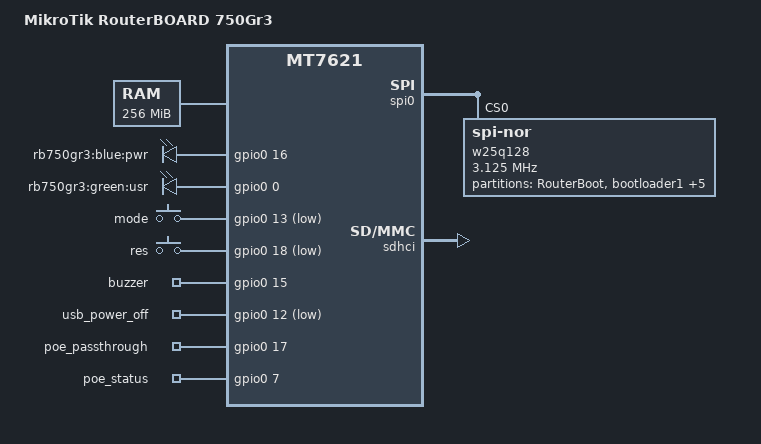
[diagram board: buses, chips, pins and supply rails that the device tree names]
/dts-v1/;

#include "mt7621.dtsi"

#include <dt-bindings/input/input.h>
#include <dt-bindings/gpio/gpio.h>

/ {
	compatible = "mikrotik,rb750gr3", "mediatek,mt7621-soc";
	model = "MikroTik RouterBOARD 750Gr3";

	aliases {
		led-boot = &led_usr;
		led-failsafe = &led_usr;
		led-running = &led_usr;
		led-upgrade = &led_usr;
	};

	memory@0 {
		device_type = "memory";
		reg = <0x0 0x10000000>;
	};

	chosen {
		bootargs = "console=ttyS0,115200";
	};

	gpio-leds {
		compatible = "gpio-leds";

		pwr {
			label = "rb750gr3:blue:pwr";
			gpios = <&gpio0 16 GPIO_ACTIVE_HIGH>;
			default-state = "on";
		};

		led_usr: usr {
			label = "rb750gr3:green:usr";
			gpios = <&gpio0 0 GPIO_ACTIVE_HIGH>;
		};
	};

	gpio-keys-polled {
		compatible = "gpio-keys-polled";
		poll-interval = <20>;

		mode {
			label = "mode";
			gpios = <&gpio0 13 GPIO_ACTIVE_LOW>;
			linux,code = <BTN_0>;
		};

		res {
			label = "res";
			gpios = <&gpio0 18 GPIO_ACTIVE_LOW>;
			linux,code = <KEY_RESTART>;
		};
	};

	gpio_export {
		compatible = "gpio-export";
		#size-cells = <0>;

		buzzer {
			gpio-export,name = "buzzer";
			gpio-export,output = <0>;
			gpios = <&gpio0 15 GPIO_ACTIVE_HIGH>;
		};

		usb {
			gpio-export,name = "usb_power_off";
			gpio-export,output = <1>;
			gpios = <&gpio0 12 GPIO_ACTIVE_LOW>;
		};

		// Used to enable power-over-ethernet passthrough to eth4 (according to OEM source).
		poe_out {
			gpio-export,name = "poe_passthrough";
			gpio-export,output = <0>;
			gpios = <&gpio0 17 GPIO_ACTIVE_HIGH>;
		};

		poe_status {
			gpio-export,name = "poe_status";
			gpios = <&gpio0 7 GPIO_ACTIVE_HIGH>;
		};
	};
};

&spi0 {
	status = "okay";

	w25q128@0 {
		compatible = "jedec,spi-nor";
		reg = <0>;
		// XXX matching RBM11/RBM33, untested
		spi-max-frequency = <3125000>;

		partitions {
			compatible = "fixed-partitions";
			#address-cells = <1>;
			#size-cells = <1>;

			partition@0 {
				label = "RouterBoot";
				reg = <0x0 0x40000>;
				read-only;
				compatible = "fixed-partitions";
				#address-cells = <1>;
				#size-cells = <1>;

				partition@0 {
					label = "bootloader1";
					reg = <0x0 0xf000>;
					read-only;
				};

				hard_config: partition@f000 {
					label = "hard_config";
					reg = <0xf000 0x1000>;
					read-only;
				};

				partition@10000 {
					label = "bootloader2";
					reg = <0x10000 0xf000>;
					read-only;
				};

				partition@20000 {
					label = "soft_config";
					reg = <0x20000 0x1000>;
				};

				partition@30000 {
					label = "bios";
					reg = <0x30000 0x1000>;
					read-only;
				};
			};

			partition@40000 {
				label = "firmware";
				reg = <0x040000 0xFC0000>;
			};
		};
	};
};

&ethernet {
	mtd-mac-address = <&hard_config 0x0010>;
	mtd-mac-address-increment = <1>;
};


&pinctrl {
	state_default: pinctrl0 {
		gpio {
			ralink,group = "uart2", "uart3", "jtag", "wdt";
			ralink,function = "gpio";
		};
	};
};

&sdhci {
	status = "okay";
};
